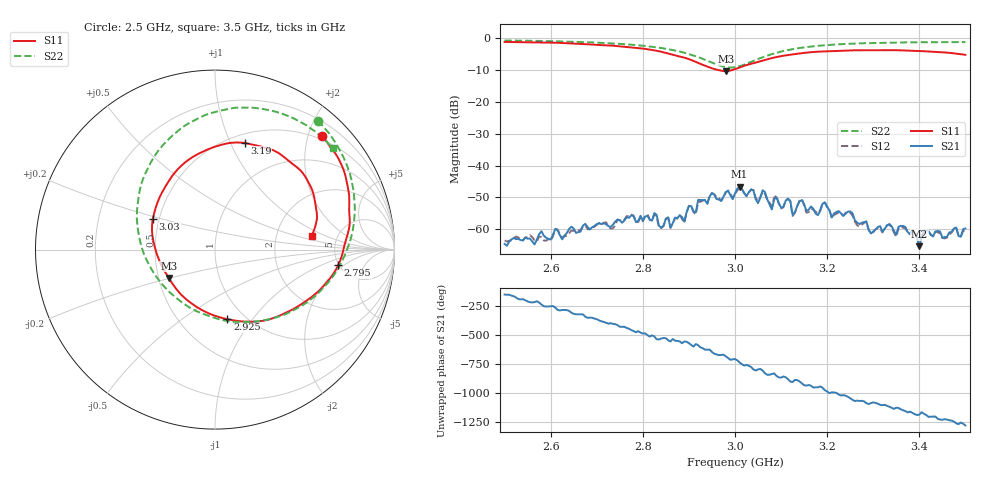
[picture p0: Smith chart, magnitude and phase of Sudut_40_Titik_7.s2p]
# Hz S RI R 50
! CMT, C1220, 16058040, 17.2.0/1
! Date: 15/08/2018 10:06:48
! Data: Format (Calibration Info)
! Freq  S11: Re/Im (F2)  S21: Re/Im (F2)  S12: Re/Im (F2)  S22: Re/Im (F2)
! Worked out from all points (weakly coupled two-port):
!   201 points, 2.5 GHz to 3.5 GHz, reference 50 ohm
!   highest |S21| = -46.64 dB at 3.01 GHz (marker M1); lowest = -65.3 dB at 3.4 GHz (marker M2)
!   lowest |S11| = -10.4 dB at 2.98 GHz (marker M3), VSWR 1.87, Z = 28.3 - j9.8 ohm
!   |S11| at or under -10 dB: 2.963 GHz to 2.994 GHz (31.36 MHz wide, 1.05 % of centre)
!   |S22| runs from -9.2 to -0.7 dB; largest |S21 - S12| = 0.00038
!   S11 on the Smith chart (normalised r, x): 2.5 GHz: 0.43, +2.26; 2.795 GHz: 4.92, -1.64; 2.925 GHz: 0.83, -0.76; 3.03 GHz: 0.46, +0.19; 3.19 GHz: 0.59, +1.13; 3.5 GHz: 3.22, +0.72
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2.5e9  0.5989 0.6318  -0.000511 -0.000295  -0.000572 -0.000345  0.5723 0.7175
2.67e9  0.7462 0.3118  0.000906 0.000705  0.000925 0.000632  0.7448 0.443
2.795e9  0.6862 -0.0871  -0.000786 -0.00143  -0.000762 -0.00135  0.7612 0.0793
2.835e9  0.578 -0.2306  -0.00113 -3.53e-05  -0.00106 -3.71e-05  0.7031 -0.0744
2.925e9  0.0695 -0.3882  -0.00118 0.00264  -0.00123 0.0024  0.2935 -0.39
2.98e9  -0.2579 -0.1575  0.00309 0.00229  0.00298 0.00237  -0.144 -0.3213
3e9  -0.3249 -0.0227  0.00354 0.000839  0.00353 0.000626  -0.28 -0.2097
3.01e9  -0.3426 0.0434  0.00447 -0.00131  0.00424 -0.00114  -0.3356 -0.1395
3.03e9  -0.3464 0.1714  0.00267 -0.00272  0.00268 -0.00265  -0.4095 0.0149
3.05e9  -0.3105 0.2871  0.000587 -0.00251  0.000544 -0.0027  -0.4357 0.176
3.06e9  -0.2822 0.341  0.000221 -0.0041  4.5e-05 -0.00388  -0.4309 0.2531
3.08e9  -0.2209 0.4323  -0.000907 -0.00184  -0.00102 -0.00204  -0.401 0.3933
3.115e9  -0.0927 0.5337  -0.00287 -0.000967  -0.0029 -0.000841  -0.2919 0.5801
3.125e9  -0.0541 0.5522  -0.00167 0.000162  -0.00161 0.000183  -0.2529 0.6204
3.145e9  0.0205 0.5798  -0.00275 0.000816  -0.00282 0.00104  -0.1756 0.6856
3.17e9  0.103 0.5959  -0.00124 0.00169  -0.00132 0.00154  -0.0764 0.7395
3.19e9  0.1653 0.5944  -0.00144 0.00208  -0.00126 0.00222  -0.00247 0.7658
3.295e9  0.422 0.4858  0.000853 -0.000117  0.000873 -8.45e-05  0.3177 0.7733
3.335e9  0.4884 0.4272  0.000938 -0.000757  0.000867 -0.000838  0.4079 0.7441
3.4e9  0.55 0.3049  -0.000169 -0.000518  -0.000176 -0.000536  0.5254 0.6806
3.415e9  0.5567 0.2696  -0.000342 -0.000906  -0.000304 -0.000866  0.5494 0.6643
3.5e9  0.5397 0.0785  -0.000967 0.000365  -0.000871 0.000351  0.6566 0.5646
